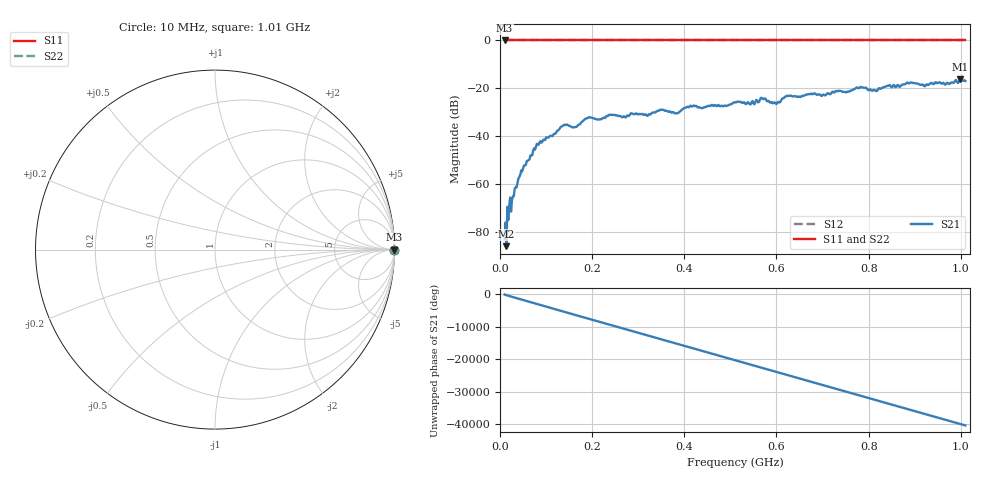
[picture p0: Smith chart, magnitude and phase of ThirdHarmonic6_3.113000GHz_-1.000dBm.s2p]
! 8/17/2025 9:13:07 AM
! C:\ANRITSUVNA\TEMP\TEMP.S2P
! CHANNEL.1
! TR.MEASUREMENT
! RAW.DATA
! RF.CORRECTION.OFF
! AVERAGING.OFF
! IF.BANDWIDTH: 5KHZ
! SWEEPTYPE:  FREQ.SWEEP(Linear)
! Reference Plane Port Info
! PORT:  PORT1  PORT2
! DISTANCE:  0  m  0  m
! TIME:  0  s  0  s
! PHASE.OFFSET:  0  deg.  0  deg.
! LOSS:  0  dB  0  dB
! REF.LOSS:  0  dB  0  dB
! REF.FREQ:  0  Hz  0  Hz
! Power Info
! POWER:  -20  dBm  -20  dBm
! EFF.POWER:  -20  dBm  -20  dBm
! SOURCE.ATTEN:  0  dB  0  dB
! TEST.ATTEN:  0  dB  0  dB
# GHZ S RI R 50.0
! FREQ.GHZ  S11RE  S11IM  S21RE  S21IM  S12RE  S12IM  S22RE  S22IM
!; PortSelection: Port_12
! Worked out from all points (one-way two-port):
!   501 points, 10 MHz to 1.01 GHz, reference 50 ohm
!   highest |S21| = -16.21 dB at 998 MHz (marker M1); lowest = -85.8 dB at 14 MHz (marker M2)
!   lowest |S11| = 0.0 dB at 10 MHz (marker M3)
!   |S11| at or under -10 dB: nowhere
!   |S22| runs from 0.0 to 0.0 dB; largest |S21 - S12| = 1.1
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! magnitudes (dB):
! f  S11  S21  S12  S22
! 10 MHz  0.0  -82.9  0.0  0.0
! 14 MHz  0.0  -85.8  0.0  0.0
! 20 MHz  0.0  -69.0  0.0  0.0
! 42 MHz  0.0  -56.9  0.0  0.0
! 76 MHz  0.0  -45.5  0.0  0.0
! 136 MHz  0.0  -35.7  0.0  0.0
! 162 MHz  0.0  -36.1  0.0  0.0
! 178 MHz  0.0  -33.9  0.0  0.0
! 192 MHz  0.0  -32.1  0.0  0.0
! 344 MHz  0.0  -29.4  0.0  0.0
! 384 MHz  0.0  -30.3  0.0  0.0
! 416 MHz  0.0  -27.6  0.0  0.0
! 510 MHz  0.0  -25.7  0.0  0.0
! 570 MHz  0.0  -24.3  0.0  0.0
! 596 MHz  0.0  -25.8  0.0  0.0
! 624 MHz  0.0  -23.0  0.0  0.0
! 678 MHz  0.0  -22.4  0.0  0.0
! 784 MHz  0.0  -19.4  0.0  0.0
! 816 MHz  0.0  -21.1  0.0  0.0
! 844 MHz  0.0  -18.8  0.0  0.0
! 998 MHz  0.0  -16.2  0.0  0.0
! 1.01 GHz  0.0  -16.9  0.0  0.0
